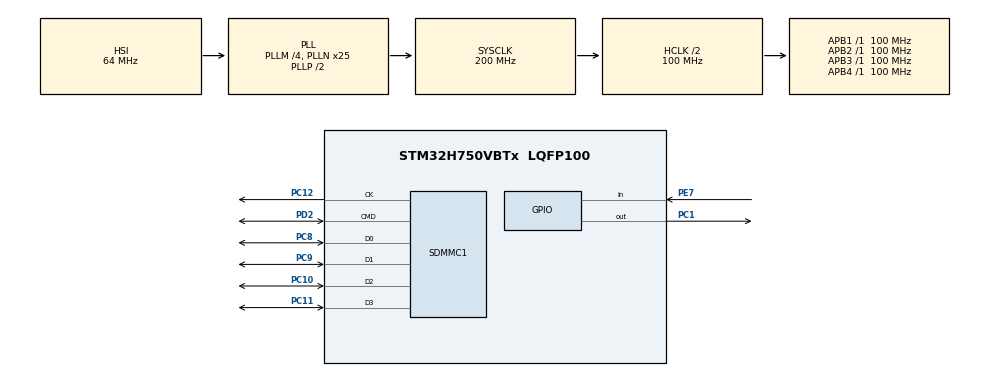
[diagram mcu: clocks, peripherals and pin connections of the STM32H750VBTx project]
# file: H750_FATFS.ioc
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CORTEX_M7.default_mode_Activation=1
FATFS.BSP.number=1
FATFS._CODE_PAGE=437
FATFS._FS_EXFAT=0
FATFS._MAX_SS=4096
FATFS._USE_LFN=2
FATFS0.BSP.STBoard=false
FATFS0.BSP.api=Unknown
FATFS0.BSP.i2caddr=0
FATFS0.BSP.instance=PE7
FATFS0.BSP.ip=GPIO
FATFS0.BSP.mode=Input
FATFS0.BSP.name=Detect_SDIO
FATFS0.BSP.solution=PE7
Mcu.Family=STM32H7
Mcu.Name=STM32H750VBTx
Mcu.Package=LQFP100
NVIC.PriorityGroup=NVIC_PRIORITYGROUP_4
NVIC.SDMMC1_IRQn=true\:0\:0\:false\:false\:true\:true\:true\:true
PA13\ (JTMS/SWDIO).Mode=Serial_Wire
PA13\ (JTMS/SWDIO).Signal=DEBUG_JTMS-SWDIO
PA14\ (JTCK/SWCLK).Mode=Serial_Wire
PA14\ (JTCK/SWCLK).Signal=DEBUG_JTCK-SWCLK
PC1.Signal=GPIO_Output
PC10.Mode=SD_4_bits_Wide_bus
PC10.Signal=SDMMC1_D2
PC11.Mode=SD_4_bits_Wide_bus
PC11.Signal=SDMMC1_D3
PC12.Mode=SD_4_bits_Wide_bus
PC12.Signal=SDMMC1_CK
PC14-OSC32_IN\ (OSC32_IN).Mode=LSE-External-Oscillator
PC14-OSC32_IN\ (OSC32_IN).Signal=RCC_OSC32_IN
PC15-OSC32_OUT\ (OSC32_OUT).Mode=LSE-External-Oscillator
PC15-OSC32_OUT\ (OSC32_OUT).Signal=RCC_OSC32_OUT
PC8.Mode=SD_4_bits_Wide_bus
PC8.Signal=SDMMC1_D0
PC9.Mode=SD_4_bits_Wide_bus
PC9.Signal=SDMMC1_D1
PD2.Mode=SD_4_bits_Wide_bus
PD2.Signal=SDMMC1_CMD
PE7.Signal=GPIO_Input
PH0-OSC_IN\ (PH0).Mode=HSE-External-Oscillator
PH0-OSC_IN\ (PH0).Signal=RCC_OSC_IN
PH1-OSC_OUT\ (PH1).Mode=HSE-External-Oscillator
PH1-OSC_OUT\ (PH1).Signal=RCC_OSC_OUT
ProjectManager.HeapSize=0x1000
ProjectManager.StackSize=0x1000
ProjectManager.TargetToolchain=MDK-ARM V5.27
RCC.ADCFreq_Value=129000000
RCC.APB1Freq_Value=100000000
RCC.APB2Freq_Value=100000000
RCC.APB3Freq_Value=100000000
RCC.APB4Freq_Value=100000000
RCC.CortexFreq_Value=200000000
RCC.DIVM1=4
RCC.DIVN1=25
RCC.DIVQ1=4
RCC.HCLKFreq_Value=100000000
RCC.HPRE=RCC_HCLK_DIV2
RCC.PLL2FRACN=0
RCC.PLL3FRACN=0
RCC.PLLFRACN=0
RCC.SYSCLKFreq_VALUE=200000000
RCC.SYSCLKSource=RCC_SYSCLKSOURCE_PLLCLK
RCC.USBFreq_Value=100000000
SDMMC1.ClockDiv=8
SDMMC1.HardwareFlowControl=SDMMC_HARDWARE_FLOW_CONTROL_DISABLE
VP_FATFS_VS_SDIO.Mode=SDIO
board=custom

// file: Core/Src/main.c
/* USER CODE BEGIN Header */
/**
  ******************************************************************************
  * @file           : main.c
  * @brief          : Main program body
  ******************************************************************************
  * @attention
  *
  * Copyright (c) 2022 STMicroelectronics.
  * All rights reserved.
  *
  * This software is licensed under terms that can be found in the LICENSE file
  * in the root directory of this software component.
  * If no LICENSE file comes with this software, it is provided AS-IS.
  *
  ******************************************************************************
  */
/* USER CODE END Header */
#include "main.h"
#include "fatfs.h"
#include "sdmmc.h"
#include "gpio.h"

/* USER CODE BEGIN Includes */
#include "stdio.h"
/* USER CODE END Includes */

void SystemClock_Config(void);
static void MPU_Config(void);
/* USER CODE BEGIN PFP */
HAL_SD_CardStateTypeDef SD_Card_State;
/* USER CODE END PFP */

/* USER CODE BEGIN 0 */
FATFS   fs;			/* FATFS 文件系统对象 */
FRESULT fr; 		/* FATFS API 返回值 */

FIL     fd;         /* FATFS 文件对象    */

//要操作的文件名
char filename[] = "test.txt";
//文件写入内容
uint8_t write_dat[] = "Hello,FATFS!qsdfghjkasdfghasdfghj\n";
//用于接收API返回写入成功的字节数
uint16_t write_num = 0;

/* USER CODE END 0 */

int main(void)
{

  /* MPU Configuration--------------------------------------------------------*/
  MPU_Config();

  /* MCU Configuration--------------------------------------------------------*/

  /* Reset of all peripherals, Initializes the Flash interface and the Systick. */
  HAL_Init();

  /* Configure the system clock */
  SystemClock_Config();

  /* Initialize all configured peripherals */
  MX_GPIO_Init();
  MX_SDMMC1_SD_Init();
  MX_FATFS_Init();
  /* USER CODE BEGIN 2 */
//	SD_Card_State = HAL_SD_GetCardState(&hsd1);
	HAL_SD_CardCIDTypeDef SD_Card_CID;
	HAL_SD_GetCardCID(&hsd1, &SD_Card_CID);

//		printf("FATFS test...\r\n");
/* 挂载SD卡 */
fr = f_mount(&fs, "", 0);
if(fr == FR_OK)
{
//    printf("SD card mount ok!\r\n");
}
else
{
//    printf("SD card mount error, error code:%d.\r\n",fr);
}

fr = f_open(&fd, filename, FA_CREATE_ALWAYS | FA_WRITE);
if(fr == FR_OK)
{
//    printf("open file \"%s\" ok! \r\n", filename);
}
else
{
//printf("open file \"%s\" error : %d\r\n", filename, fr);
}

/* 向打开的文件中写入内容 */
fr = f_write(&fd, write_dat, sizeof(write_dat), (void *)&write_num);
if(fr == FR_OK)
{
//    printf("write %d dat to file \"%s\" ok,dat is \"%s\".\r\n", write_num, filename, write_dat);
}
else
{
//    printf("write dat to file \"%s\" error,error code is:%d\r\n", filename, fr);
}

/* 操作完成，关闭文件 */
fr = f_close(&fd);
if(fr == FR_OK)
{
//    printf("close file \"%s\" ok!\r\n", filename);
}
else
{
//    printf("close file \"%s\" error, error code is:%d.\r\n", filename, fr);
}

  /* USER CODE END 2 */

  /* Infinite loop */
  while (1)
  {

  }
}

void SystemClock_Config(void)
{
  RCC_OscInitTypeDef RCC_OscInitStruct = {0};
  RCC_ClkInitTypeDef RCC_ClkInitStruct = {0};

  /** Supply configuration update enable
  */
  HAL_PWREx_ConfigSupply(PWR_LDO_SUPPLY);

  /** Configure the main internal regulator output voltage
  */
  __HAL_PWR_VOLTAGESCALING_CONFIG(PWR_REGULATOR_VOLTAGE_SCALE3);

  while(!__HAL_PWR_GET_FLAG(PWR_FLAG_VOSRDY)) {}

  /** Initializes the RCC Oscillators according to the specified parameters
  * in the RCC_OscInitTypeDef structure.
  */
  RCC_OscInitStruct.OscillatorType = RCC_OSCILLATORTYPE_HSI;
  RCC_OscInitStruct.HSIState = RCC_HSI_DIV1;
  RCC_OscInitStruct.HSICalibrationValue = RCC_HSICALIBRATION_DEFAULT;
  RCC_OscInitStruct.PLL.PLLState = RCC_PLL_ON;
  RCC_OscInitStruct.PLL.PLLSource = RCC_PLLSOURCE_HSI;
  RCC_OscInitStruct.PLL.PLLM = 4;
  RCC_OscInitStruct.PLL.PLLN = 25;
  RCC_OscInitStruct.PLL.PLLP = 2;
  RCC_OscInitStruct.PLL.PLLQ = 4;
  RCC_OscInitStruct.PLL.PLLR = 2;
  RCC_OscInitStruct.PLL.PLLRGE = RCC_PLL1VCIRANGE_3;
  RCC_OscInitStruct.PLL.PLLVCOSEL = RCC_PLL1VCOWIDE;
  RCC_OscInitStruct.PLL.PLLFRACN = 0;
  if (HAL_RCC_OscConfig(&RCC_OscInitStruct) != HAL_OK)
  {
    Error_Handler();
  }

  /** Initializes the CPU, AHB and APB buses clocks
  */
  RCC_ClkInitStruct.ClockType = RCC_CLOCKTYPE_HCLK|RCC_CLOCKTYPE_SYSCLK
                              |RCC_CLOCKTYPE_PCLK1|RCC_CLOCKTYPE_PCLK2
                              |RCC_CLOCKTYPE_D3PCLK1|RCC_CLOCKTYPE_D1PCLK1;
  RCC_ClkInitStruct.SYSCLKSource = RCC_SYSCLKSOURCE_PLLCLK;
  RCC_ClkInitStruct.SYSCLKDivider = RCC_SYSCLK_DIV1;
  RCC_ClkInitStruct.AHBCLKDivider = RCC_HCLK_DIV2;
  RCC_ClkInitStruct.APB3CLKDivider = RCC_APB3_DIV1;
  RCC_ClkInitStruct.APB1CLKDivider = RCC_APB1_DIV1;
  RCC_ClkInitStruct.APB2CLKDivider = RCC_APB2_DIV1;
  RCC_ClkInitStruct.APB4CLKDivider = RCC_APB4_DIV1;

  if (HAL_RCC_ClockConfig(&RCC_ClkInitStruct, FLASH_LATENCY_2) != HAL_OK)
  {
    Error_Handler();
  }
}

/* MPU Configuration */

void MPU_Config(void)
{
  MPU_Region_InitTypeDef MPU_InitStruct = {0};

  /* Disables the MPU */
  HAL_MPU_Disable();

  /** Initializes and configures the Region and the memory to be protected
  */
  MPU_InitStruct.Enable = MPU_REGION_ENABLE;
  MPU_InitStruct.Number = MPU_REGION_NUMBER0;
  MPU_InitStruct.BaseAddress = 0x0;
  MPU_InitStruct.Size = MPU_REGION_SIZE_4GB;
  MPU_InitStruct.SubRegionDisable = 0x87;
  MPU_InitStruct.TypeExtField = MPU_TEX_LEVEL0;
  MPU_InitStruct.AccessPermission = MPU_REGION_NO_ACCESS;
  MPU_InitStruct.DisableExec = MPU_INSTRUCTION_ACCESS_DISABLE;
  MPU_InitStruct.IsShareable = MPU_ACCESS_SHAREABLE;
  MPU_InitStruct.IsCacheable = MPU_ACCESS_NOT_CACHEABLE;
  MPU_InitStruct.IsBufferable = MPU_ACCESS_NOT_BUFFERABLE;

  HAL_MPU_ConfigRegion(&MPU_InitStruct);
  /* Enables the MPU */
  HAL_MPU_Enable(MPU_PRIVILEGED_DEFAULT);

}

void Error_Handler(void)
{
  __disable_irq();
  while (1)
  {
  }
}
